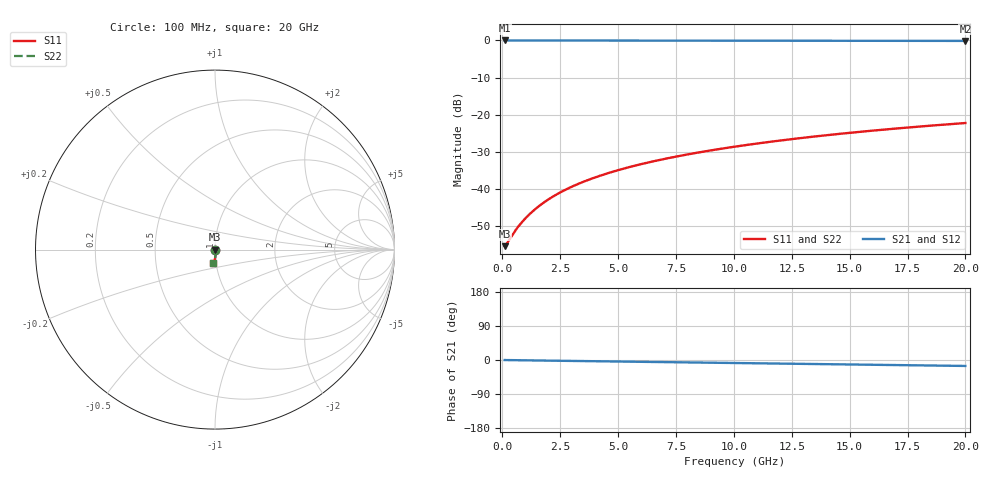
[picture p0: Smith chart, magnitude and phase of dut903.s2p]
! Touchstone file exported from HFSS 2026.1.0
!  File:  C:/ffzhzh/LocalFiles/Ansys_Project_Files/temp_train_BSMRDL_903_1783171446_43440.aedt
!  Generated:  09:25:08 PM Jul  4, 2026
!  Design:  BSMRDL
!  Project:  temp_train_BSMRDL_903_1783171446_43440
! Variables:
!  h_bsmrdl = 2.81um
!  h_ox = 20um
!  h_rdl = 5um
!  h_sub = 80um
!  h_tmrdl = 5um
!  h_tsv = 80um
!  h_via = 3um
!  l_bsmrdl = 257.21um
!  l_sub = 657.21um
!  l_tmrdl = 200um
!  m_sub = 200um
!  pitch = 25.27um
!  r_tsv = 6um
!  s_tmrdl = 10um
!  w_bsmrdl = 23.68um
!  w_sub = 500um
!  w_tmrdl = 12um
!  x_tsv_center1 = 206um
!  x_tsv_center2 = 486.89um
!  x_tsv_center3 = 698.89um
!  x_tsv_center4 = 979.78um
!  x_tsv_center5 = 1191.78um
!  x_tsv_center6 = 1472.67um
# GHz S MA R 50.000000
! Terminal data exported
! Port[1] = BSM_RDL1_1_T1
! Port[2] = BSM_RDL1_1_T2
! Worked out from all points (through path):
!   200 points, 100 MHz to 20 GHz, reference 50 ohm
!   highest |S21| = -0.01 dB at 100 MHz (marker M1); lowest = -0.1 dB at 20 GHz (marker M2)
!   group delay of S21, straight-line fit = 2.17 ps
!   lowest |S11| = -55.4 dB at 100 MHz (marker M3), VSWR 1.00, Z = 50.2 + j0.000429 ohm
!   |S11| at or under -10 dB: start of sweep to end of sweep
!   |S22| runs from -55.4 to -22.3 dB; largest |S21 - S12| = 8.1e-15
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0.1  0.001691 0.1  0.9983 -0.1  0.9983 -0.1  0.001691 0.1
! Gamma 0 0 0 0
! Port Impedance 50 0 50 0
0.2  0.001843 -1.3  0.9982 -0.2  0.9982 -0.2  0.001843 -1.3
0.5  0.002573 -14.2  0.9975 -0.5  0.9975 -0.5  0.002573 -14.2
0.6  0.002849 -19.4  0.9973 -0.6  0.9973 -0.6  0.002849 -19.4
0.8  0.003422 -28.8  0.997 -0.7  0.997 -0.7  0.003421 -28.8
1.1  0.004322 -40.0  0.9966 -1.0  0.9966 -1.0  0.004321 -40.0
1.5  0.005587 -50.3  0.9963 -1.3  0.9963 -1.3  0.005586 -50.3
1.9  0.006905 -57.4  0.9961 -1.6  0.9961 -1.6  0.006904 -57.4
2.4  0.008604 -63.4  0.9959 -2.0  0.9959 -2.0  0.008602 -63.4
2.9  0.01034 -67.7  0.9956 -2.4  0.9956 -2.4  0.01034 -67.7
3.5  0.01245 -71.4  0.9954 -2.9  0.9954 -2.9  0.01245 -71.4
4.2  0.01496 -74.5  0.995 -3.4  0.995 -3.4  0.01496 -74.5
5  0.01787 -77.1  0.9946 -4.1  0.9946 -4.1  0.01786 -77.1
5.9  0.02118 -79.4  0.9942 -4.8  0.9942 -4.8  0.02118 -79.4
6.8  0.02455 -81.2  0.9937 -5.5  0.9937 -5.5  0.02454 -81.2
8.3  0.03026 -83.6  0.9927 -6.7  0.9927 -6.7  0.03025 -83.7
10.1  0.03726 -86.1  0.9915 -8.1  0.9915 -8.1  0.03726 -86.1
11.7  0.0436 -87.9  0.9904 -9.3  0.9904 -9.3  0.04359 -88.0
13.4  0.05041 -89.8  0.9892 -10.6  0.9892 -10.6  0.05039 -89.8
15  0.05686 -91.5  0.9881 -11.9  0.9881 -11.9  0.05685 -91.5
16.7  0.06375 -93.2  0.9869 -13.2  0.9869 -13.2  0.06373 -93.3
20  0.07713 -96.5  0.9845 -15.7  0.9845 -15.7  0.0771 -96.5
